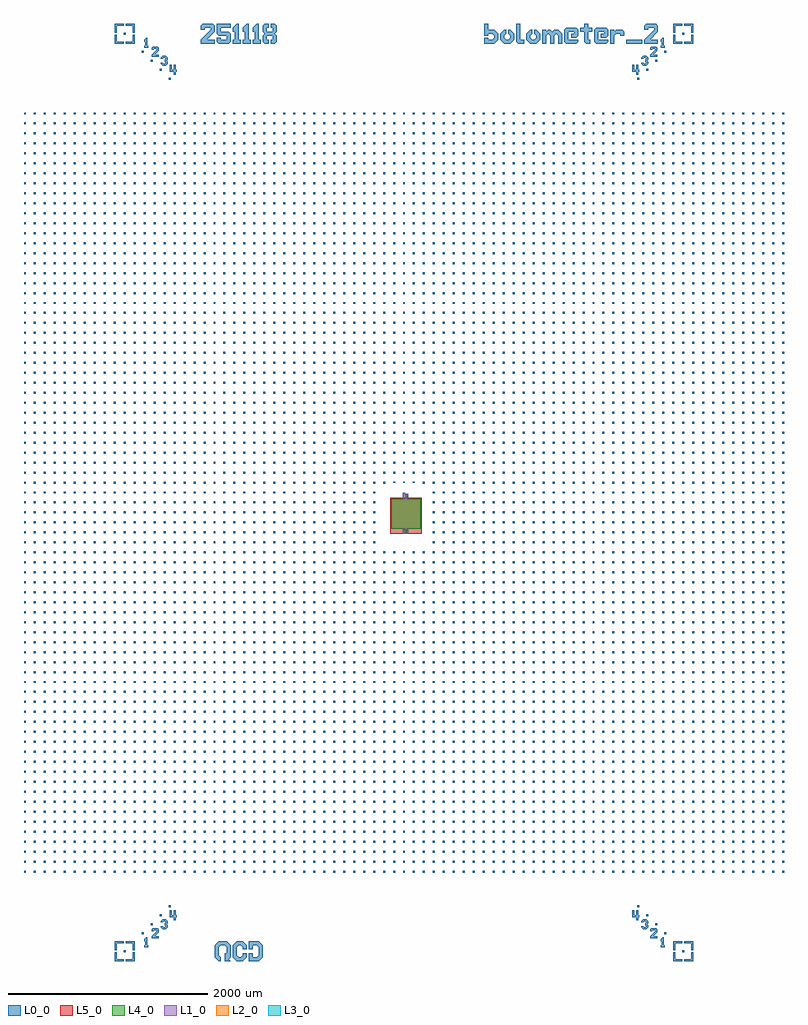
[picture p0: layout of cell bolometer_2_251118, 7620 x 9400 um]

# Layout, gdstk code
import gdstk
lib = gdstk.Library(unit=1e-6, precision=1e-09)
def R(c, l, rs):  # rectangles x0, y0, x1, y1
    for r in rs: c.add(gdstk.rectangle(r[:2], r[2:], *l))
def A(c, l, x, y, w, h, nx, ny, dx, dy):  # array of equal rectangles
    R(c, l, [(x+i*dx, y+j*dy, x+i*dx+w, y+j*dy+h) for i in range(nx) for j in range(ny)])
def P(c, l, *ps):  # polygons
    for p in ps: c.add(gdstk.Polygon(p, *l))
L0_0 = (0, 0)
L1_0 = (1, 0)
L2_0 = (2, 0)
L3_0 = (3, 0)
L4_0 = (4, 0)
L5_0 = (5, 0)

remarks = lib.new_cell('remarks')
R(remarks, L0_0, [(-2810,-4610,-2790,-4590), (2790,-4610,2810,-4590), (-2630,-4430,-2610,-4410), (2610,-4430,2630,-4410), (-2540,-4340,-2520,-4320), (2520,-4340,2540,-4320), (-2450,-4250,-2430,-4230), (2430,-4250,2450,-4230), (-2360,-4160,-2340,-4140), (2340,-4160,2360,-4140), (-2360,4140,-2340,4160), (2340,4140,2360,4160), (-2450,4230,-2430,4250), (2430,4230,2450,4250), (-2540,4320,-2520,4340), (2520,4320,2540,4340), (-2630,4410,-2610,4430), (2610,4410,2630,4430), (2226.667,4500,2386.667,4540), (-2810,4590,-2790,4610), (2790,4590,2810,4610)])
P(remarks, L0_0, [(806.667,4500),(806.667,4560),(846.667,4560),(846.667,4540),(886.667,4540),(906.667,4560),(906.667,4580),(886.667,4600),(846.667,4600),(846.667,4580),(806.667,4580),(806.667,4700),(846.667,4700),(846.667,4640),(906.667,4640),(946.667,4600),(946.667,4540),(906.667,4500)],
  [(1006.667,4500),(966.667,4540),(966.667,4600),(1006.667,4640),(1026.667,4640),(1026.667,4600),(1006.667,4580),(1006.667,4560),(1026.667,4540),(1046.667,4540),(1066.667,4560),(1066.667,4580),(1046.667,4600),(1046.667,4640),(1066.667,4640),(1106.667,4600),(1106.667,4540),(1066.667,4500)],
  [(1146.667,4500),(1126.667,4520),(1126.667,4700),(1166.667,4700),(1166.667,4540),(1206.667,4540),(1206.667,4500)],
  [(1266.667,4500),(1226.667,4540),(1226.667,4600),(1266.667,4640),(1286.667,4640),(1286.667,4600),(1266.667,4580),(1266.667,4560),(1286.667,4540),(1306.667,4540),(1326.667,4560),(1326.667,4580),(1306.667,4600),(1306.667,4640),(1326.667,4640),(1366.667,4600),(1366.667,4540),(1326.667,4500)],
  [(1386.667,4500),(1386.667,4640),(1426.667,4640),(1426.667,4620),(1446.667,4640),(1466.667,4640),(1486.667,4620),(1506.667,4640),(1546.667,4640),(1586.667,4600),(1586.667,4500),(1546.667,4500),(1546.667,4580),(1526.667,4600),(1506.667,4580),(1506.667,4500),(1466.667,4500),(1466.667,4580),(1446.667,4600),(1426.667,4580),(1426.667,4500)],
  [(1626.667,4500),(1606.667,4520),(1606.667,4640),(1626.667,4660),(1726.667,4660),(1746.667,4640),(1746.667,4580),(1726.667,4560),(1674.667,4560),(1674.667,4600),(1706.667,4600),(1706.667,4620),(1646.667,4620),(1646.667,4540),(1746.667,4540),(1746.667,4520),(1726.667,4500)],
  [(1826.667,4500),(1806.667,4520),(1806.667,4620),(1766.667,4620),(1766.667,4660),(1806.667,4660),(1806.667,4700),(1846.667,4700),(1846.667,4660),(1886.667,4660),(1886.667,4620),(1846.667,4620),(1846.667,4540),(1866.667,4540),(1866.667,4500)],
  [(1926.667,4500),(1906.667,4520),(1906.667,4640),(1926.667,4660),(2026.667,4660),(2046.667,4640),(2046.667,4580),(2026.667,4560),(1974.667,4560),(1974.667,4600),(2006.667,4600),(2006.667,4620),(1946.667,4620),(1946.667,4540),(2046.667,4540),(2046.667,4520),(2026.667,4500)],
  [(2066.667,4500),(2066.667,4640),(2106.667,4640),(2106.667,4620),(2126.667,4640),(2186.667,4640),(2206.667,4620),(2206.667,4580),(2166.667,4580),(2166.667,4600),(2126.667,4600),(2106.667,4580),(2106.667,4500)],
  [(2406.667,4500),(2406.667,4540),(2506.667,4640),(2506.667,4660),(2446.667,4660),(2446.667,4640),(2406.667,4640),(2406.667,4680),(2426.667,4700),(2526.667,4700),(2546.667,4680),(2546.667,4620),(2466.667,4540),(2546.667,4540),(2546.667,4500)],
  [(-2036.667,4500),(-2036.667,4540),(-1936.667,4640),(-1936.667,4660),(-1996.667,4660),(-1996.667,4640),(-2036.667,4640),(-2036.667,4680),(-2016.667,4700),(-1916.667,4700),(-1896.667,4680),(-1896.667,4620),(-1976.667,4540),(-1896.667,4540),(-1896.667,4500)],
  [(-1856.667,4500),(-1876.667,4520),(-1876.667,4560),(-1836.667,4560),(-1836.667,4540),(-1776.667,4540),(-1776.667,4580),(-1856.667,4580),(-1876.667,4600),(-1876.667,4700),(-1736.667,4700),(-1736.667,4660),(-1836.667,4660),(-1836.667,4620),(-1756.667,4620),(-1736.667,4600),(-1736.667,4520),(-1756.667,4500)],
  [(-1716.667,4500),(-1716.667,4540),(-1696.667,4540),(-1696.667,4620),(-1716.667,4620),(-1716.667,4660),(-1676.667,4700),(-1656.667,4700),(-1656.667,4540),(-1636.667,4540),(-1636.667,4500)],
  [(-1616.667,4500),(-1616.667,4540),(-1596.667,4540),(-1596.667,4620),(-1616.667,4620),(-1616.667,4660),(-1576.667,4700),(-1556.667,4700),(-1556.667,4540),(-1536.667,4540),(-1536.667,4500)],
  [(-1516.667,4500),(-1516.667,4540),(-1496.667,4540),(-1496.667,4620),(-1516.667,4620),(-1516.667,4660),(-1476.667,4700),(-1456.667,4700),(-1456.667,4540),(-1436.667,4540),(-1436.667,4500)],
  [(-1396.667,4500),(-1416.667,4520),(-1416.667,4580),(-1396.667,4600),(-1416.667,4620),(-1416.667,4680),(-1396.667,4700),(-1356.667,4700),(-1356.667,4660),(-1376.667,4660),(-1376.667,4620),(-1316.667,4620),(-1316.667,4660),(-1336.667,4660),(-1336.667,4700),(-1296.667,4700),(-1276.667,4680),(-1276.667,4620),(-1296.667,4600),(-1276.667,4580),(-1276.667,4520),(-1296.667,4500),(-1336.667,4500),(-1336.667,4540),(-1316.667,4540),(-1316.667,4580),(-1376.667,4580),(-1376.667,4540),(-1356.667,4540),(-1356.667,4500)],
  [(-1856.667,-4700),(-1896.667,-4660),(-1896.667,-4540),(-1856.667,-4500),(-1776.667,-4500),(-1736.667,-4540),(-1736.667,-4660),(-1756.667,-4680),(-1736.667,-4700),(-1796.667,-4700),(-1796.667,-4620),(-1776.667,-4620),(-1776.667,-4560),(-1796.667,-4540),(-1836.667,-4540),(-1856.667,-4560),(-1856.667,-4640),(-1836.667,-4660),(-1836.667,-4700)],
  [(-1676.667,-4700),(-1716.667,-4660),(-1716.667,-4540),(-1676.667,-4500),(-1616.667,-4500),(-1576.667,-4540),(-1576.667,-4580),(-1616.667,-4580),(-1616.667,-4560),(-1636.667,-4540),(-1656.667,-4540),(-1676.667,-4560),(-1676.667,-4640),(-1656.667,-4660),(-1636.667,-4660),(-1616.667,-4640),(-1616.667,-4620),(-1576.667,-4620),(-1576.667,-4660),(-1616.667,-4700)],
  [(-1556.667,-4700),(-1556.667,-4620),(-1516.667,-4620),(-1516.667,-4660),(-1476.667,-4660),(-1456.667,-4640),(-1456.667,-4560),(-1476.667,-4540),(-1516.667,-4540),(-1516.667,-4580),(-1556.667,-4580),(-1556.667,-4500),(-1456.667,-4500),(-1416.667,-4540),(-1416.667,-4660),(-1456.667,-4700)],
  [(-2900,-4590),(-2900,-4500),(-2810,-4500),(-2810,-4520),(-2880,-4520),(-2880,-4590)],
  [(-2900,4500),(-2900,4590),(-2880,4590),(-2880,4520),(-2810,4520),(-2810,4500)],
  [(2810,4500),(2810,4520),(2880,4520),(2880,4590),(2900,4590),(2900,4500)],
  [(2880,-4590),(2880,-4520),(2810,-4520),(2810,-4500),(2900,-4500),(2900,-4590)],
  [(-2900,-4700),(-2900,-4610),(-2880,-4610),(-2880,-4680),(-2810,-4680),(-2810,-4700)],
  [(-2900,4610),(-2900,4700),(-2810,4700),(-2810,4680),(-2880,4680),(-2880,4610)],
  [(2880,4610),(2880,4680),(2810,4680),(2810,4700),(2900,4700),(2900,4610)],
  [(2810,-4700),(2810,-4680),(2880,-4680),(2880,-4610),(2900,-4610),(2900,-4700)],
  [(-2790,-4700),(-2790,-4680),(-2720,-4680),(-2720,-4610),(-2700,-4610),(-2700,-4700)],
  [(-2720,4610),(-2720,4680),(-2790,4680),(-2790,4700),(-2700,4700),(-2700,4610)],
  [(2700,4610),(2700,4700),(2790,4700),(2790,4680),(2720,4680),(2720,4610)],
  [(2700,-4700),(2700,-4610),(2720,-4610),(2720,-4680),(2790,-4680),(2790,-4700)],
  [(-2720,-4590),(-2720,-4520),(-2790,-4520),(-2790,-4500),(-2700,-4500),(-2700,-4590)],
  [(-2790,4500),(-2790,4520),(-2720,4520),(-2720,4590),(-2700,4590),(-2700,4500)],
  [(2700,4500),(2700,4590),(2720,4590),(2720,4520),(2790,4520),(2790,4500)],
  [(2700,-4590),(2700,-4500),(2790,-4500),(2790,-4520),(2720,-4520),(2720,-4590)],
  [(-2605,-4560),(-2605,-4540),(-2595,-4540),(-2595,-4500),(-2605,-4500),(-2605,-4480),(-2585,-4460),(-2575,-4460),(-2575,-4540),(-2565,-4540),(-2565,-4560)],
  [(-2605,4460),(-2605,4480),(-2595,4480),(-2595,4520),(-2605,4520),(-2605,4540),(-2585,4560),(-2575,4560),(-2575,4480),(-2565,4480),(-2565,4460)],
  [(2575,4460),(2575,4480),(2585,4480),(2585,4520),(2575,4520),(2575,4540),(2595,4560),(2605,4560),(2605,4480),(2615,4480),(2615,4460)],
  [(2575,-4560),(2575,-4540),(2585,-4540),(2585,-4500),(2575,-4500),(2575,-4480),(2595,-4460),(2605,-4460),(2605,-4540),(2615,-4540),(2615,-4560)],
  [(-2530,-4470),(-2530,-4450),(-2480,-4400),(-2480,-4390),(-2510,-4390),(-2510,-4400),(-2530,-4400),(-2530,-4380),(-2520,-4370),(-2470,-4370),(-2460,-4380),(-2460,-4410),(-2500,-4450),(-2460,-4450),(-2460,-4470)],
  [(-2530,4370),(-2530,4390),(-2480,4440),(-2480,4450),(-2510,4450),(-2510,4440),(-2530,4440),(-2530,4460),(-2520,4470),(-2470,4470),(-2460,4460),(-2460,4430),(-2500,4390),(-2460,4390),(-2460,4370)],
  [(2470,4370),(2470,4390),(2520,4440),(2520,4450),(2490,4450),(2490,4440),(2470,4440),(2470,4460),(2480,4470),(2530,4470),(2540,4460),(2540,4430),(2500,4390),(2540,4390),(2540,4370)],
  [(2470,-4470),(2470,-4450),(2520,-4400),(2520,-4390),(2490,-4390),(2490,-4400),(2470,-4400),(2470,-4380),(2480,-4370),(2530,-4370),(2540,-4380),(2540,-4410),(2500,-4450),(2540,-4450),(2540,-4470)],
  [(-2420,-4380),(-2440,-4360),(-2440,-4350),(-2420,-4350),(-2410,-4360),(-2400,-4360),(-2390,-4350),(-2400,-4340),(-2400,-4320),(-2390,-4310),(-2400,-4300),(-2410,-4300),(-2420,-4310),(-2440,-4310),(-2440,-4300),(-2420,-4280),(-2390,-4280),(-2370,-4300),(-2370,-4320),(-2380,-4330),(-2370,-4340),(-2370,-4360),(-2390,-4380)],
  [(-2420,4280),(-2440,4300),(-2440,4310),(-2420,4310),(-2410,4300),(-2400,4300),(-2390,4310),(-2400,4320),(-2400,4340),(-2390,4350),(-2400,4360),(-2410,4360),(-2420,4350),(-2440,4350),(-2440,4360),(-2420,4380),(-2390,4380),(-2370,4360),(-2370,4340),(-2380,4330),(-2370,4320),(-2370,4300),(-2390,4280)],
  [(2400,4280),(2380,4300),(2380,4310),(2400,4310),(2410,4300),(2420,4300),(2430,4310),(2420,4320),(2420,4340),(2430,4350),(2420,4360),(2410,4360),(2400,4350),(2380,4350),(2380,4360),(2400,4380),(2430,4380),(2450,4360),(2450,4340),(2440,4330),(2450,4320),(2450,4300),(2430,4280)],
  [(2400,-4380),(2380,-4360),(2380,-4350),(2400,-4350),(2410,-4360),(2420,-4360),(2430,-4350),(2420,-4340),(2420,-4320),(2430,-4310),(2420,-4300),(2410,-4300),(2400,-4310),(2380,-4310),(2380,-4300),(2400,-4280),(2430,-4280),(2450,-4300),(2450,-4320),(2440,-4330),(2450,-4340),(2450,-4360),(2430,-4380)],
  [(-2310,-4290),(-2310,-4260),(-2350,-4260),(-2350,-4190),(-2330,-4190),(-2330,-4240),(-2310,-4240),(-2310,-4190),(-2290,-4190),(-2290,-4240),(-2280,-4240),(-2280,-4260),(-2290,-4260),(-2290,-4290)],
  [(-2310,4190),(-2310,4220),(-2350,4220),(-2350,4290),(-2330,4290),(-2330,4240),(-2310,4240),(-2310,4290),(-2290,4290),(-2290,4240),(-2280,4240),(-2280,4220),(-2290,4220),(-2290,4190)],
  [(2330,4190),(2330,4220),(2290,4220),(2290,4290),(2310,4290),(2310,4240),(2330,4240),(2330,4290),(2350,4290),(2350,4240),(2360,4240),(2360,4220),(2350,4220),(2350,4190)],
  [(2330,-4290),(2330,-4260),(2290,-4260),(2290,-4190),(2310,-4190),(2310,-4240),(2330,-4240),(2330,-4190),(2350,-4190),(2350,-4240),(2360,-4240),(2360,-4260),(2350,-4260),(2350,-4290)])

nb_inv = lib.new_cell('Nb_inv')
P(nb_inv, L1_0, [(-11,-12.85),(-11,-8.8),(-4.75,-8.8),(-4.75,-5.8),(-11,-5.8),(-11,0),(2,0),(2,-2.8),(5,-2.8),(5,0),(11,0),(11,-12.85),(5,-12.85),(5,-10.05),(2,-10.05),(2,-12.85)],
  [(-15,-412.85),(-15,-362.85),(45,-362.85),(45,-412.85),(5,-412.85),(5,-402.85),(35,-402.85),(35,-372.85),(-5,-372.85),(-5,-412.85)],
  [(-11,-62.85),(-11,-12.85),(-5,-12.85),(-5,-52.85),(35,-52.85),(35,-22.85),(5,-22.85),(5,-12.85),(45,-12.85),(45,-62.85)])

jj1 = lib.new_cell('JJ1')
A(jj1, L2_0, -2.45, -8.8, 2.15, 0.25, 1, 7, 0, 0.5)
R(jj1, L2_0, [(-1.45,-10.55,-1.3,-2.3), (-2.45,-9.55,3,-9.05), (-5.75,-5.3,-0.3,-4.8), (-2.45,-3.8,4.5,-3.3)])

ghost1 = lib.new_cell('Ghost1')
A(ghost1, L3_0, -3.25, -8.85, 0.9, 0.35, 1, 7, 0, 0.5)
A(ghost1, L3_0, -0.4, -8.85, 0.9, 0.35, 1, 7, 0, 0.5)
R(ghost1, L3_0, [(-1.5,-11.35,-1.25,-10.45), (-3.25,-9.6,-2.35,-9), (2.9,-9.6,3.8,-9), (-6.55,-5.35,-5.65,-4.75), (-0.4,-5.35,0.5,-4.75), (-3.25,-3.85,-2.35,-3.25), (4.4,-3.85,5.3,-3.25), (-1.5,-2.4,-1.25,-1.5)])

patch = lib.new_cell('Patch')
R(patch, L4_0, [(10,-407.85,30,-362.85), (-130,-362.85,170,-62.85), (10,-62.85,30,-17.85), (2,-11.55,3.5,-8.55), (-6.25,-7.3,-4.75,-4.3), (3.5,-4.3,5,-1.3)])

sio2 = lib.new_cell('SiO2')
R(sio2, L5_0, [(-140,-412.85,180,-52.85)])

unnamed_160 = lib.new_cell('Unnamed_160')
A(unnamed_160, L0_0, -3810, -3810, 20, 20, 77, 33, 100, 100)
A(unnamed_160, L0_0, -3810, -510, 20, 20, 36, 6, 100, 100)
A(unnamed_160, L0_0, 290, -510, 20, 20, 36, 6, 100, 100)
A(unnamed_160, L0_0, -3810, 90, 20, 20, 37, 1, 100, 0)
A(unnamed_160, L0_0, 190, 90, 20, 20, 37, 1, 100, 0)
A(unnamed_160, L0_0, -110, 100, 20, 10, 3, 1, 100, 0)
A(unnamed_160, L0_0, -3810, 190, 20, 20, 77, 37, 100, 100)

bolometer_2_251118 = lib.new_cell('bolometer_2_251118')
bolometer_2_251118.add(gdstk.Reference(remarks, (0,0)))
bolometer_2_251118.add(gdstk.Reference(nb_inv, (0,0)))
bolometer_2_251118.add(gdstk.Reference(jj1, (0,0)))
bolometer_2_251118.add(gdstk.Reference(ghost1, (0,0)))
bolometer_2_251118.add(gdstk.Reference(patch, (0,0)))
bolometer_2_251118.add(gdstk.Reference(sio2, (0,0)))
bolometer_2_251118.add(gdstk.Reference(unnamed_160, (0,0)))

lib.write_gds('bolometer_2_251118.gds')
